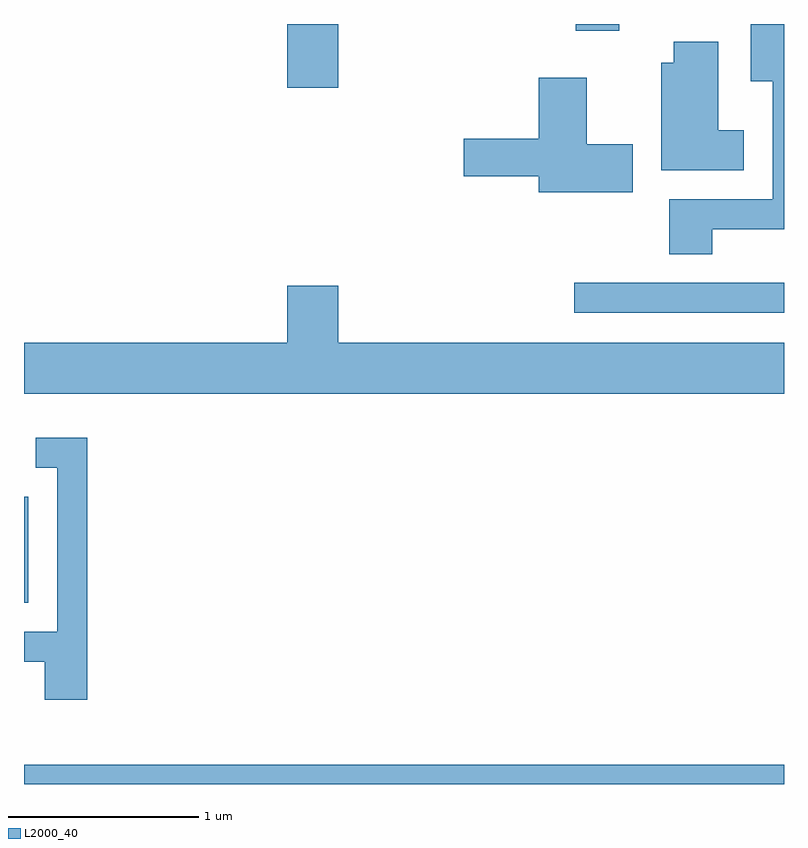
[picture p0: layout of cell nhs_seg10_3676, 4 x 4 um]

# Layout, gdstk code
import gdstk
lib = gdstk.Library(unit=1e-6, precision=1e-09)
def R(c, l, rs):  # rectangles x0, y0, x1, y1
    for r in rs: c.add(gdstk.rectangle(r[:2], r[2:], *l))
def P(c, l, *ps):  # polygons
    for p in ps: c.add(gdstk.Polygon(p, *l))
L2000_40 = (2000, 40)

nhs_seg10_3676 = lib.new_cell('nhs_seg10_3676')
R(nhs_seg10_3676, L2000_40, [(293.611,2118.522,297.611,2118.624), (293.611,2119.476,293.634,2120.034), (296.508,2121.001,297.611,2121.159), (294.996,2122.186,295.264,2122.522), (296.516,2122.486,296.744,2122.522)])
P(nhs_seg10_3676, L2000_40, [(297.234,2121.441),(297.611,2121.441),(297.611,2122.522),(297.436,2122.522),(297.436,2122.221),(297.551,2122.221),(297.551,2121.599),(297.006,2121.599),(297.006,2121.311),(297.234,2121.311)],
  [(297.399,2121.964),(297.264,2121.964),(297.264,2122.429),(297.031,2122.429),(297.031,2122.319),(296.966,2122.319),(296.966,2121.751),(297.399,2121.751)],
  [(296.814,2121.889),(296.574,2121.889),(296.574,2122.239),(296.321,2122.239),(296.321,2121.919),(295.926,2121.919),(295.926,2121.721),(296.321,2121.721),(296.321,2121.636),(296.814,2121.636)],
  [(297.611,2120.844),(295.264,2120.844),(295.264,2121.144),(294.996,2121.144),(294.996,2120.844),(293.611,2120.844),(293.611,2120.576),(297.611,2120.576)],
  [(293.944,2120.344),(293.673,2120.344),(293.673,2120.186),(293.786,2120.186),(293.786,2119.324),(293.611,2119.324),(293.611,2119.166),(293.721,2119.166),(293.721,2118.966),(293.944,2118.966)])

lib.write_gds('nhs_seg10_3676.gds')
